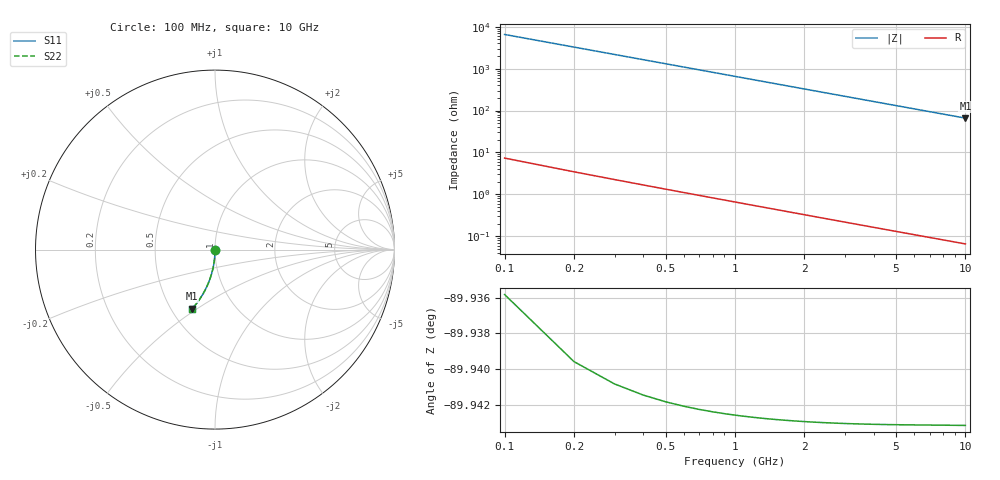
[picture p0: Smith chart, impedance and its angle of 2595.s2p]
# Hz S RI R 50.00
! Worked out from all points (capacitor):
!   100 points, 100 MHz to 10 GHz, reference 50 ohm
!   read as one part in shunt: C = 243 fF near 100 MHz
!   lowest |Z| = 65.9 ohm at 10 GHz (marker M1)
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1e8  -1.3e-05 -0.00379  1 -0.00385  1 -0.00385  -1.3e-05 -0.00379
2e8  -6.05e-05 -0.00758  0.9999 -0.00771  0.9999 -0.00771  -6.05e-05 -0.00758
3e8  -0.000137 -0.0114  0.9999 -0.0116  0.9999 -0.0116  -0.000137 -0.0114
4e8  -0.000243 -0.0152  0.9997 -0.0154  0.9997 -0.0154  -0.000243 -0.0152
5e8  -0.000378 -0.0189  0.9996 -0.0193  0.9996 -0.0193  -0.000378 -0.0189
6e8  -0.000543 -0.0227  0.9994 -0.0231  0.9994 -0.0231  -0.000543 -0.0227
7e8  -0.000736 -0.0265  0.9993 -0.027  0.9993 -0.027  -0.000736 -0.0265
8e8  -0.000958 -0.0303  0.999 -0.0308  0.999 -0.0308  -0.000958 -0.0303
9e8  -0.00121 -0.0341  0.9988 -0.0346  0.9988 -0.0346  -0.00121 -0.0341
1.1e9  -0.0018 -0.0416  0.9982 -0.0423  0.9982 -0.0423  -0.0018 -0.0416
1.4e9  -0.0029 -0.0529  0.9971 -0.0538  0.9971 -0.0538  -0.0029 -0.0529
1.8e9  -0.00477 -0.0678  0.9952 -0.069  0.9952 -0.069  -0.00477 -0.0678
2.1e9  -0.00646 -0.079  0.9935 -0.0803  0.9935 -0.0803  -0.00646 -0.079
2.5e9  -0.00911 -0.0938  0.9909 -0.0954  0.9909 -0.0954  -0.00911 -0.0938
2.9e9  -0.0122 -0.1084  0.9878 -0.1102  0.9878 -0.1102  -0.0122 -0.1084
3.4e9  -0.0167 -0.1264  0.9833 -0.1286  0.9833 -0.1286  -0.0167 -0.1264
4.2e9  -0.0251 -0.1547  0.9748 -0.1574  0.9748 -0.1574  -0.0251 -0.1547
5.1e9  -0.0365 -0.1855  0.9634 -0.1888  0.9634 -0.1888  -0.0365 -0.1855
5.9e9  -0.0482 -0.2118  0.9518 -0.2157  0.9518 -0.2157  -0.0482 -0.2118
6.7e9  -0.0612 -0.237  0.9388 -0.2415  0.9388 -0.2415  -0.0612 -0.237
8.4e9  -0.0927 -0.2867  0.9073 -0.2923  0.9073 -0.2923  -0.0927 -0.2867
1e10  -0.1262 -0.3282  0.8738 -0.3349  0.8738 -0.3349  -0.1262 -0.3282
